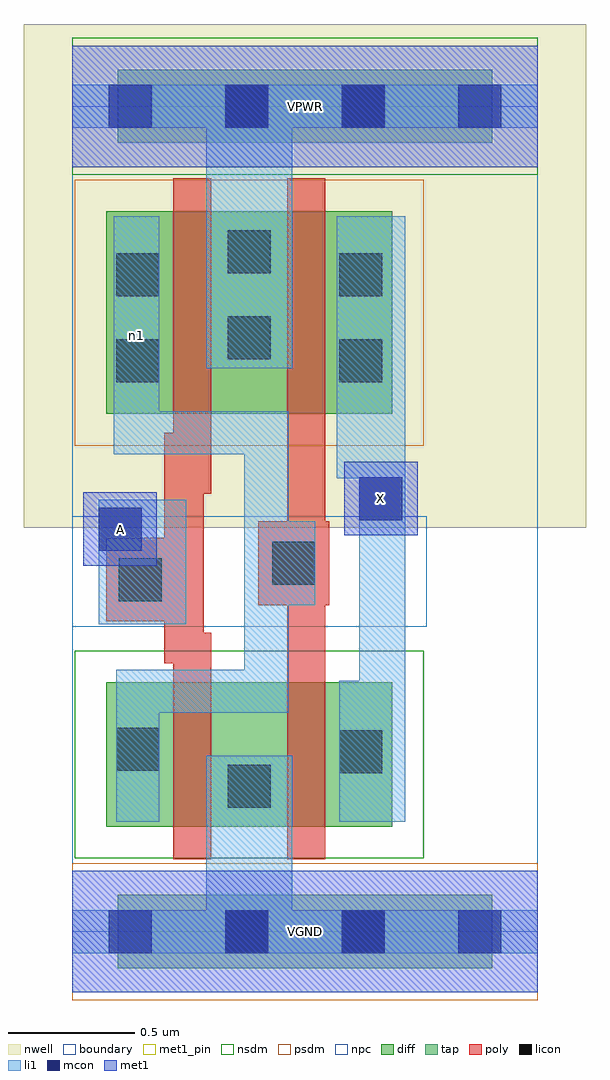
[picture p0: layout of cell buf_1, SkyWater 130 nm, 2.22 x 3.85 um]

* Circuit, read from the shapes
.subckt buf_1 A VGND VPWR X n1
XM1 VGND A n1 VGND sky130_fd_pr__nfet_01v8 w=0.57 l=0.15
XM2 X n1 VGND VGND sky130_fd_pr__nfet_01v8 w=0.57 l=0.15
XM3 VPWR A n1 VPWR sky130_fd_pr__pfet_01v8 w=0.8 l=0.15
XM4 X n1 VPWR VPWR sky130_fd_pr__pfet_01v8 w=0.8 l=0.15
.ends

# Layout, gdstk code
import gdstk
lib = gdstk.Library(unit=1e-6, precision=1e-09)
def R(c, l, rs):  # rectangles x0, y0, x1, y1
    for r in rs: c.add(gdstk.rectangle(r[:2], r[2:], *l))
def A(c, l, x, y, w, h, nx, ny, dx, dy):  # array of equal rectangles
    R(c, l, [(x+i*dx, y+j*dy, x+i*dx+w, y+j*dy+h) for i in range(nx) for j in range(ny)])
nwell = (64, 20)
diff = (65, 20)
tap = (65, 44)
poly = (66, 20)
licon = (66, 44)
li1 = (67, 20)
mcon = (67, 44)
met1_pin = (68, 16)
met1 = (68, 20)
nsdm = (93, 44)
psdm = (94, 20)
npc = (95, 20)
boundary = (235, 4)

buf_1 = lib.new_cell('buf_1')
R(buf_1, nwell, [(-0.19,1.595,2.03,3.585), (0,1.595,1.84,3.585)])
R(buf_1, diff, [(0.135,0.415,1.265,0.985), (0.135,2.045,1.265,2.845)])
R(buf_1, tap, [(0.18,-0.145,1.66,0.145), (0.18,3.115,1.66,3.405)])
R(buf_1, poly, [(0.4,0.285,0.52,2.975), (0.4,0.285,0.55,1.18), (0.85,0.285,1,2.975), (0.365,1.06,0.52,1.97), (0.135,1.225,0.52,1.555), (0.735,1.29,1.015,1.62), (0.4,1.73,0.55,2.975)])
R(buf_1, licon, [(0.605,-0.085,0.775,0.085), (1.065,-0.085,1.235,0.085), (0.615,0.49,0.785,0.66), (1.055,0.625,1.225,0.795), (0.175,0.635,0.345,0.805), (0.185,1.305,0.355,1.475), (0.79,1.37,0.96,1.54), (0.175,2.17,0.345,2.34), (1.055,2.17,1.225,2.34), (0.615,2.26,0.785,2.43), (0.175,2.51,0.345,2.68), (1.055,2.51,1.225,2.68), (0.615,2.6,0.785,2.77), (0.605,3.175,0.775,3.345), (1.065,3.175,1.235,3.345)])
R(buf_1, li1, [(0,-0.085,1.84,0.085), (0.53,-0.085,0.87,0.695), (0.175,0.435,0.345,1.035), (1.055,0.435,1.315,0.99), (1.135,0.435,1.315,2.825), (0.175,0.865,0.855,1.035), (0.68,0.865,0.855,2.055), (0.105,1.215,0.45,1.705), (0.68,1.29,0.96,1.62), (1.045,1.79,1.315,2.825), (0.165,1.885,0.345,2.825), (0.165,1.885,0.855,2.055), (0.53,2.225,0.87,3.345), (0,3.175,1.84,3.345)])
A(buf_1, mcon, 0.145, -0.085, 0.17, 0.17, 4, 2, 0.46, 3.26)
R(buf_1, mcon, [(0.105,1.505,0.275,1.675), (1.135,1.625,1.305,1.795)])
R(buf_1, met1_pin, [(0,-0.24,1.84,0.24), (0.045,1.445,0.335,1.735), (1.075,1.565,1.365,1.855), (0,3.02,1.84,3.5)])
R(buf_1, met1, [(0,-0.24,1.84,0.24), (0.045,1.445,0.335,1.735), (1.075,1.565,1.365,1.855), (0,3.02,1.84,3.5)])
R(buf_1, nsdm, [(0.01,0.29,1.39,1.11), (0,2.99,1.84,3.53)])
R(buf_1, psdm, [(0,-0.27,1.84,0.27), (0.01,1.92,1.39,2.97)])
R(buf_1, npc, [(0,1.205,1.4,1.64)])
R(buf_1, boundary, [(0,0,1.84,3.26)])
buf_1.add(gdstk.Label('n1', (0.255,2.355), layer=67, texttype=5))
buf_1.add(gdstk.Label('A', (0.19,1.59), layer=68, texttype=5))
buf_1.add(gdstk.Label('X', (1.22,1.71), layer=68, texttype=5))
buf_1.add(gdstk.Label('VPWR', (0.92,3.26), layer=68, texttype=5))
buf_1.add(gdstk.Label('VGND', (0.92,0), layer=68, texttype=5))
buf_1.add(gdstk.Label('A', (0.19,1.59), layer=68, texttype=16))
buf_1.add(gdstk.Label('X', (1.22,1.71), layer=68, texttype=16))
buf_1.add(gdstk.Label('VPWR', (0.92,3.26), layer=68, texttype=16))
buf_1.add(gdstk.Label('VGND', (0.92,0), layer=68, texttype=16))

lib.write_gds('buf_1.gds')
